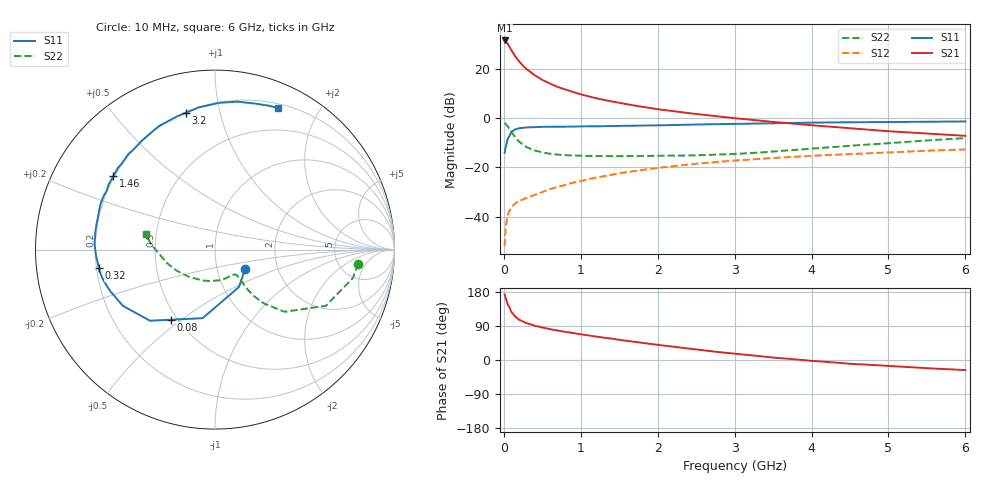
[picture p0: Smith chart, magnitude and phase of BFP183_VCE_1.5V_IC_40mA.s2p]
! Infineon Technologies  Discrete & RF Semiconductors
! BFP183
! VCE = 1.5 V,  IC =  40 mA
! Common Emitter S-Parameters:  Jan 2016
# GHz  S  MA  R  50
!  f  S11  S21  S12  S22
! GHz  MAG  ANG  MAG  ANG  MAG  ANG  MAG  ANG
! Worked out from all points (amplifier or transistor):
!   210 points, 10 MHz to 6 GHz, reference 50 ohm
!   highest |S21| = 31.7 dB at 10 MHz (marker M1)
!   |S21| within 3 dB of that: start of sweep to 80.03 MHz
!   unconditionally stable (mu >= 1): start of sweep to 18.74 MHz; 267.1 MHz to end of sweep
!   at 185 MHz: K = 0.80, MSG = 28.8 dB, |S12| = -33.9 dB
!   at 1.52 GHz: K = 1.55, MAG = 9.9 dB, |S12| = -22.2 dB
!   at 6 GHz: K = 1.23, MAG = -0.1 dB, |S12| = -12.7 dB
!   S11 on the Smith chart (normalised r, x): 10 MHz: 1.36, -0.31; 80 MHz: 0.46, -0.46; 320 MHz: 0.21, -0.08; 1.46 GHz: 0.20, +0.31; 3.2 GHz: 0.20, +0.79; 6 GHz: 0.24, +1.52
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0.01  0.1995 -32.6  38.49 172.7  0.0025 72.9  0.8022 -5.7
0.02  0.2473 -57.3  37.81 165.7  0.005 72.0  0.784 -11.7
0.05  0.3882 -100.2  33.15 146.6  0.0106 65.0  0.6924 -26.9
0.08  0.4609 -122.1  27.25 135.8  0.0136 54.4  0.5839 -34.8
0.1  0.5367 -132.4  24.07 125.9  0.0158 49.7  0.5199 -41.8
0.15  0.6008 -148.5  18.16 113.9  0.0186 46.0  0.4051 -47.8
0.2  0.6278 -158.3  14.3 106.3  0.0209 46.5  0.3346 -50.2
0.26  0.6473 -165.7  11.33 100.0  0.0227 47.5  0.2827 -50.7
0.3  0.654 -169.4  9.913 96.9  0.0242 48.7  0.2571 -50.5
0.32  0.655 -171.0  9.432 95.9  0.0249 49.3  0.2501 -50.4
0.4  0.6637 -177.2  7.551 90.4  0.0275 51.5  0.2222 -49.8
0.5  0.6719 177.4  6.054 85.6  0.0317 53.3  0.2017 -49.4
0.6  0.6736 172.4  5.097 81.3  0.0363 56.0  0.1895 -49.7
0.8  0.6762 164.9  3.845 74.2  0.0441 57.9  0.1779 -51.3
1.02  0.6871 157.0  3.019 67.2  0.0539 59.2  0.1723 -55.1
1.46  0.6991 144.1  2.121 54.6  0.0744 57.8  0.1699 -65.4
2.02  0.7199 128.6  1.521 39.5  0.0988 53.1  0.1727 -82.1
3.1  0.7749 104.0  0.973 14.8  0.1415 42.3  0.1918 -121.2
3.2  0.7792 102.1  0.94 12.9  0.145 41.2  0.1957 -124.8
4.1  0.8199 87.1  0.704 -3.6  0.1756 32.1  0.2483 -153.7
5.1  0.8437 74.7  0.535 -16.8  0.2051 23.3  0.3198 -177.5
6  0.8642 65.9  0.441 -26.5  0.2325 13.9  0.396 167.1
